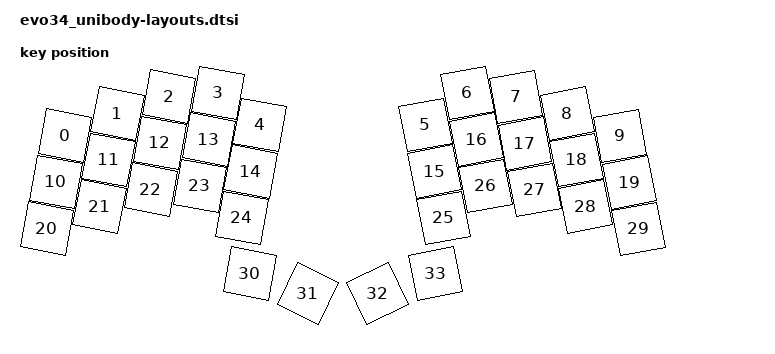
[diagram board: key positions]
#include <physical_layouts.dtsi>

/ {
    physical_layout_evo34_unibody: physical_layout_evo34_unibody {
        compatible = "zmk,physical-layout";
        display-name = "Evo34-unibody";
        keys  //                     w   h    x    y     rot    rx    ry
            = <&key_physical_attrs 100 100   45   94    1100    95   144>
            , <&key_physical_attrs 100 100  150   50    1100   200   100>
            , <&key_physical_attrs 100 100  253   16    1100   303    66>
            , <&key_physical_attrs 100 100  351    9    1100   401    59>
            , <&key_physical_attrs 100 100  435   73    1100   485   123>
            , <&key_physical_attrs 100 100  766   73 (-1100)   816   123>
            , <&key_physical_attrs 100 100  850    9 (-1100)   900    59>
            , <&key_physical_attrs 100 100  947   17 (-1100)   997    67>
            , <&key_physical_attrs 100 100 1050   50 (-1100)  1100   100>
            , <&key_physical_attrs 100 100 1155   95 (-1100)  1205   145>
            , <&key_physical_attrs 100 100   27  187    1100    77   237>
            , <&key_physical_attrs 100 100  132  143    1100   182   193>
            , <&key_physical_attrs 100 100  235  109    1100   285   159>
            , <&key_physical_attrs 100 100  333  102    1100   383   152>
            , <&key_physical_attrs 100 100  417  166    1100   467   216>
            , <&key_physical_attrs 100 100  784  166 (-1100)   834   216>
            , <&key_physical_attrs 100 100  868  102 (-1100)   918   152>
            , <&key_physical_attrs 100 100  965  110 (-1100)  1015   160>
            , <&key_physical_attrs 100 100 1068  143 (-1100)  1118   193>
            , <&key_physical_attrs 100 100 1174  188 (-1100)  1224   238>
            , <&key_physical_attrs 100 100    9  280    1100    59   330>
            , <&key_physical_attrs 100 100  114  236    1100   164   286>
            , <&key_physical_attrs 100 100  217  202    1100   267   252>
            , <&key_physical_attrs 100 100  315  195    1100   365   245>
            , <&key_physical_attrs 100 100  399  259    1100   449   309>
            , <&key_physical_attrs 100 100  802  259 (-1100)   852   309>
            , <&key_physical_attrs 100 100  886  195 (-1100)   936   245>
            , <&key_physical_attrs 100 100  984  203 (-1100)  1034   253>
            , <&key_physical_attrs 100 100 1086  236 (-1100)  1136   286>
            , <&key_physical_attrs 100 100 1192  281 (-1100)  1242   331>
            , <&key_physical_attrs 100 100  415  370    1100   465   420>
            , <&key_physical_attrs 100 100  531  410    2600   581   460>
            , <&key_physical_attrs 100 100  670  410 (-2600)   720   460>
            , <&key_physical_attrs 100 100  786  370 (-1100)   836   420>
            ;
    };
};
